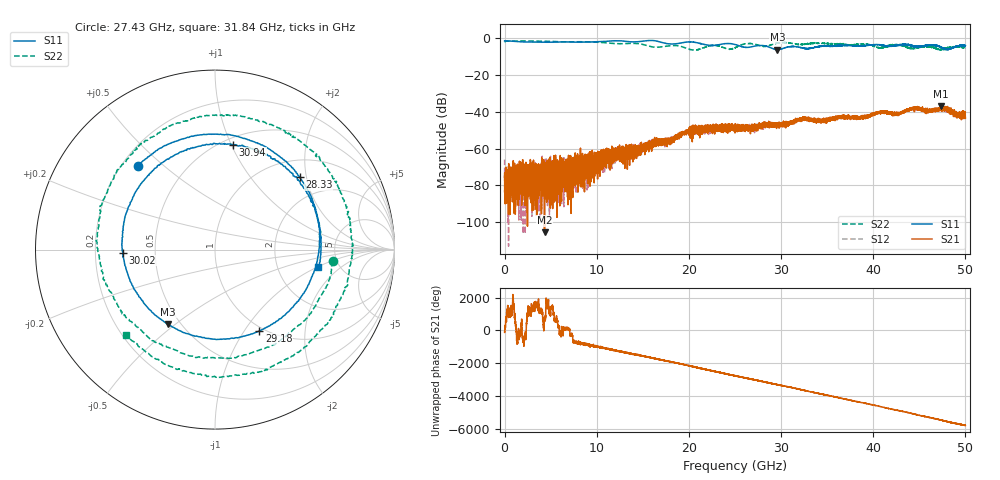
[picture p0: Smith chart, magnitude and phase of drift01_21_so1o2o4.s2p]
!Created with skrf (http://scikit-rf.org).
# Hz S RI R 50.0
!freq ReS11 ImS11 ReS21 ImS21 ReS12 ImS12 ReS22 ImS22
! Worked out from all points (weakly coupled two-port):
!   10001 points, 300 kHz to 50 GHz, reference 50 ohm
!   highest |S21| = -36.76 dB at 47.34 GHz (marker M1); lowest = -105.6 dB at 4.33 GHz (marker M2)
!   lowest |S11| = -6.2 dB at 29.61 GHz (marker M3), VSWR 2.92, Z = 21.6 - j23.6 ohm
!   |S11| at or under -10 dB: nowhere
!   |S22| runs from -6.5 to -1.4 dB; largest |S21 - S12| = 0.0037
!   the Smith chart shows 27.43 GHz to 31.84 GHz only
!   S11 on the Smith chart (normalised r, x): 27.43 GHz: 0.26, +0.41; 28.33 GHz: 1.39, +1.83; 29.18 GHz: 0.95, -1.17; 30.02 GHz: 0.32, -0.01; 30.94 GHz: 0.56, +1.01; 31.84 GHz: 3.47, -1.03
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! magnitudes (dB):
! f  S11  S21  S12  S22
! 300 kHz  -1.3  -75.6  -65.9  -2.1
! 340.3 MHz  -1.4  -84.2  -89.3  -1.4
! 4.33 GHz  -2.1  -105.6  -70.5  -1.5
! 5.935 GHz  -2.0  -77.5  -81.5  -1.8
! 8.335 GHz  -2.0  -68.9  -76.0  -1.8
! 16.67 GHz  -1.6  -56.7  -55.3  -4.8
! 18.61 GHz  -2.9  -54.6  -54.7  -3.9
! 20.03 GHz  -1.9  -49.6  -52.4  -5.9
! 22.62 GHz  -3.8  -46.8  -47.4  -3.8
! 25 GHz  -3.3  -49.0  -49.7  -5.1
! 26.19 GHz  -4.9  -49.5  -49.1  -2.9
! 27.43 GHz  -3.9  -48.2  -47.4  -3.6
! 28.33 GHz  -4.1  -47.4  -46.5  -4.3
! 29.18 GHz  -5.7  -47.0  -46.6  -3.1
! 29.61 GHz  -6.2  -47.5  -47.1  -2.5
! 30.02 GHz  -5.8  -47.9  -47.4  -2.3
! 30.94 GHz  -4.5  -45.4  -46.4  -2.5
! 31.84 GHz  -4.7  -44.3  -44.6  -3.3
! 33.34 GHz  -5.3  -44.0  -44.5  -2.6
! 41.67 GHz  -4.2  -40.5  -40.6  -4.2
! 47.34 GHz  -4.7  -36.8  -38.1  -6.5
! 50 GHz  -3.9  -43.5  -41.8  -5.4
